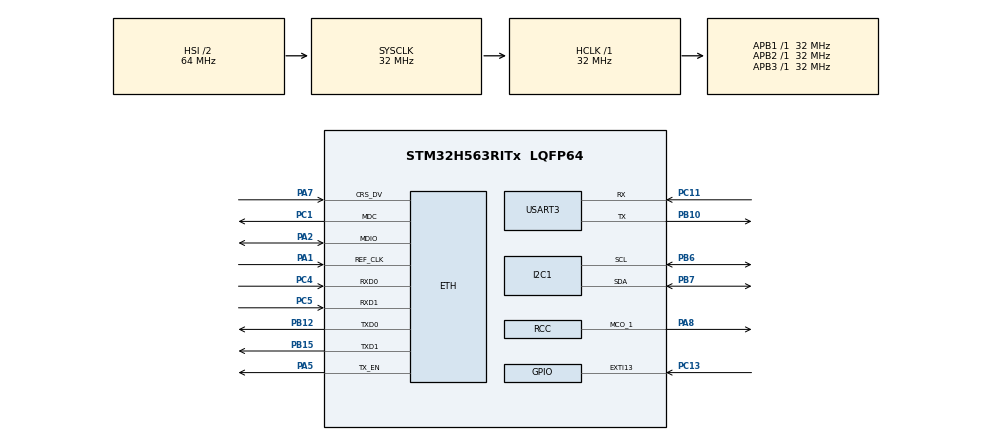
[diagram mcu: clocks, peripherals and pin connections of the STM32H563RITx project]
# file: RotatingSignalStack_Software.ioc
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BOOTPATH.BootPathName=LEGACY
BOOTPATH.UserSelectedBootPath=LEGACY
CORTEX_M33_NS.Number-Cortex_Memory_Protection_Unit_Region0_OTP_RO_AREAS_Settings=MPU_REGION_NUMBER0
CORTEX_M33_NS.default_mode_Activation=1
CORTEX_M33_NS.userName=CORTEX_M33
ETH.MediaInterface=HAL_ETH_RMII_MODE
I2C1.Timing=0x00707CBB
Mcu.Family=STM32H5
Mcu.Name=STM32H563RITx
Mcu.Package=LQFP64
NVIC.PriorityGroup=NVIC_PRIORITYGROUP_4
NVIC.TIM6_IRQn=true\:15\:0\:false\:false\:true\:false\:true\:true
NVIC.TimeBase=TIM6_IRQn
NVIC.TimeBaseIP=TIM6
PA1.Mode=RMII
PA1.Signal=ETH_REF_CLK
PA2.Mode=RMII
PA2.Signal=ETH_MDIO
PA5.Mode=RMII
PA5.Signal=ETH_TX_EN
PA7.Mode=RMII
PA7.Signal=ETH_CRS_DV
PA8.Mode=Clock-out
PA8.Signal=RCC_MCO_1
PB10.Mode=Asynchronous
PB10.Signal=USART3_TX
PB12.Mode=RMII
PB12.Signal=ETH_TXD0
PB15.Mode=RMII
PB15.Signal=ETH_TXD1
PB2.Mode=Clock-out-LSCO
PB2.Signal=RCC_LSCO
PB6.Mode=I2C
PB6.Signal=I2C1_SCL
PB7.Mode=I2C
PB7.Signal=I2C1_SDA
PC1.Mode=RMII
PC1.Signal=ETH_MDC
PC11.Mode=Asynchronous
PC11.Signal=USART3_RX
PC13.Signal=GPXTI13
PC4.Mode=RMII
PC4.Signal=ETH_RXD0
PC5.Mode=RMII
PC5.Signal=ETH_RXD1
PH0-OSC_IN(PH0).Mode=HSE-External-Clock-Source
PH0-OSC_IN(PH0).Signal=RCC_OSC_IN
ProjectManager.HeapSize=0x2000
ProjectManager.StackSize=0x2000
ProjectManager.TargetToolchain=CMake
RCC.ADCFreq_Value=32000000
RCC.AHBFreq_Value=32000000
RCC.APB1Freq_Value=32000000
RCC.APB1TimFreq_Value=32000000
RCC.APB2Freq_Value=32000000
RCC.APB2TimFreq_Value=32000000
RCC.APB3Freq_Value=32000000
RCC.CSI_VALUE=4000000
RCC.CortexFreq_Value=32000000
RCC.EPOD_VALUE=4000000
RCC.HCLKFreq_Value=32000000
RCC.HSE_VALUE=50000000
RCC.HSI48_VALUE=48000000
RCC.HSI_VALUE=64000000
RCC.LSE_VALUE=32768
RCC.LSIRC_VALUE=32000
RCC.PLL1Q=3
RCC.PLL2FRACN=0
RCC.PLL3FRACN=0
RCC.PLLFRACN=0
RCC.PLLN=32
RCC.RCC_TIM_PRescaler_Selection=RCC_TIMPRES_DESACTIVATED
RCC.SYSCLKFreq_VALUE=32000000
RCC.USBFreq_Value=48000000
RCC.VCOOutputFreq_Value=128000000
RCC.rccPrivilegeNSecure=RCC_NSEC_NPRIV
USART3.VirtualMode-Asynchronous=VM_ASYNC
VP_BOOTPATH_VS_BOOTPATH.Mode=BP_Activate
VP_CORTEX_M33_NS_VS_Hclk.Mode=Hclk_Mode
VP_FLASH_SIG_Activate_FlashIP.Mode=Activate_FlashIP
VP_ICACHE_VS_ICACHE.Mode=DirectMappedCache
VP_MEMORYMAP_VS_MEMORYMAP.Mode=CurAppReg
VP_PWR_VS_LPOM.Mode=PowerOptimisation
VP_PWR_VS_SECSignals.Mode=Security/Privilege
VP_SYS_VS_tim6.Mode=TIM6
board=custom

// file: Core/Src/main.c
/* USER CODE BEGIN Header */
/**
  ******************************************************************************
  * @file           : main.c
  * @brief          : Main program body
  ******************************************************************************
  * @attention
  *
  * Copyright (c) 2026 STMicroelectronics.
  * All rights reserved.
  *
  * This software is licensed under terms that can be found in the LICENSE file
  * in the root directory of this software component.
  * If no LICENSE file comes with this software, it is provided AS-IS.
  *
  ******************************************************************************
  */
/* USER CODE END Header */
#include "main.h"
#include "string.h"

/* USER CODE BEGIN Includes */
#include "Ian8742.h"
/* USER CODE END Includes */

/* USER CODE BEGIN PTD */
typedef struct {
    ETH_BufferTypeDef *AppBuff;
    uint8_t buffer[100]__ALIGNED(32);
} ETH_AppBuff;
/* USER CODE END PTD */

/* USER CODE BEGIN PD */
#ifdef __GNUC__
#define PUTCHAR_PROTOTYPE int __io_putchar(int ch)
#else
#define PUTCHAR_PROTOTYPE int fputc(int ch, FILE *f)
#endif
/* USER CODE END PD */

ETH_TxPacketConfigTypeDef TxConfig;
ETH_DMADescTypeDef  DMARxDscrTab[ETH_RX_DESC_CNT]; /* Ethernet Rx DMA Descriptors */
ETH_DMADescTypeDef  DMATxDscrTab[ETH_TX_DESC_CNT]; /* Ethernet Tx DMA Descriptors */

ETH_HandleTypeDef heth;

I2C_HandleTypeDef hi2c1;

UART_HandleTypeDef huart3;

void SystemClock_Config(void);
static void MPU_Config(void);
static void MX_GPIO_Init(void);
static void MX_ICACHE_Init(void);
static void MX_ETH_Init(void);
static void MX_FLASH_Init(void);
static void MX_USART3_UART_Init(void);
static void MX_I2C1_Init(void);
/* USER CODE BEGIN PFP */
int32_t ETH_PHY_INTERFACE_Init(void);
int32_t ETH_PHY_INTERFACE_DeInit (void);
int32_t ETH_PHY_INTERFACE_ReadReg(uint32_t DevAddr, uint32_t RegAddr, uint32_t *pRegVal);
int32_t ETH_PHY_INTERFACE_WriteReg(uint32_t DevAddr, uint32_t RegAddr, uint32_t RegVal);
int32_t ETH_PHY_INTERFACE_GetTick(void);
/* USER CODE END PFP */

/* USER CODE BEGIN 0 */
int __io_putchar(int ch)
{
  /* Place your implementation of fputc here */
  /* e.g. write a character to the USART3 and Loop until the end of transmission */
  HAL_UART_Transmit(&huart3, (uint8_t *)&ch, 1, 0xFFFF);
  return ch;
}
/* USER CODE END 0 */

int main(void)
{

  /* MCU Configuration--------------------------------------------------------*/

  /* MPU Configuration--------------------------------------------------------*/
  MPU_Config();

  /* Reset of all peripherals, Initializes the Flash interface and the Systick. */
  HAL_Init();

  /* Configure the system clock */
  SystemClock_Config();

  /* Initialize all configured peripherals */
  MX_GPIO_Init();
  MX_ICACHE_Init();
  MX_ETH_Init();
  MX_FLASH_Init();
  MX_USART3_UART_Init();
  MX_I2C1_Init();

  /* Infinite loop */
  while (1)
  {

  }
}

void SystemClock_Config(void)
{
  RCC_OscInitTypeDef RCC_OscInitStruct = {0};
  RCC_ClkInitTypeDef RCC_ClkInitStruct = {0};

  /** Configure the main internal regulator output voltage
  */
  __HAL_PWR_VOLTAGESCALING_CONFIG(PWR_REGULATOR_VOLTAGE_SCALE3);

  while(!__HAL_PWR_GET_FLAG(PWR_FLAG_VOSRDY)) {}

  /** Initializes the RCC Oscillators according to the specified parameters
  * in the RCC_OscInitTypeDef structure.
  */
  RCC_OscInitStruct.OscillatorType = RCC_OSCILLATORTYPE_HSI|RCC_OSCILLATORTYPE_LSI
                              |RCC_OSCILLATORTYPE_CSI;
  RCC_OscInitStruct.HSIState = RCC_HSI_ON;
  RCC_OscInitStruct.HSIDiv = RCC_HSI_DIV2;
  RCC_OscInitStruct.HSICalibrationValue = RCC_HSICALIBRATION_DEFAULT;
  RCC_OscInitStruct.LSIState = RCC_LSI_ON;
  RCC_OscInitStruct.CSIState = RCC_CSI_ON;
  RCC_OscInitStruct.CSICalibrationValue = RCC_CSICALIBRATION_DEFAULT;
  RCC_OscInitStruct.PLL.PLLState = RCC_PLL_ON;
  RCC_OscInitStruct.PLL.PLLSource = RCC_PLL1_SOURCE_CSI;
  RCC_OscInitStruct.PLL.PLLM = 1;
  RCC_OscInitStruct.PLL.PLLN = 32;
  RCC_OscInitStruct.PLL.PLLP = 2;
  RCC_OscInitStruct.PLL.PLLQ = 3;
  RCC_OscInitStruct.PLL.PLLR = 2;
  RCC_OscInitStruct.PLL.PLLRGE = RCC_PLL1_VCIRANGE_2;
  RCC_OscInitStruct.PLL.PLLVCOSEL = RCC_PLL1_VCORANGE_WIDE;
  RCC_OscInitStruct.PLL.PLLFRACN = 0;
  if (HAL_RCC_OscConfig(&RCC_OscInitStruct) != HAL_OK)
  {
    Error_Handler();
  }

  /** Initializes the CPU, AHB and APB buses clocks
  */
  RCC_ClkInitStruct.ClockType = RCC_CLOCKTYPE_HCLK|RCC_CLOCKTYPE_SYSCLK
                              |RCC_CLOCKTYPE_PCLK1|RCC_CLOCKTYPE_PCLK2
                              |RCC_CLOCKTYPE_PCLK3;
  RCC_ClkInitStruct.SYSCLKSource = RCC_SYSCLKSOURCE_HSI;
  RCC_ClkInitStruct.AHBCLKDivider = RCC_SYSCLK_DIV1;
  RCC_ClkInitStruct.APB1CLKDivider = RCC_HCLK_DIV1;
  RCC_ClkInitStruct.APB2CLKDivider = RCC_HCLK_DIV1;
  RCC_ClkInitStruct.APB3CLKDivider = RCC_HCLK_DIV1;

  if (HAL_RCC_ClockConfig(&RCC_ClkInitStruct, FLASH_LATENCY_1) != HAL_OK)
  {
    Error_Handler();
  }
  HAL_RCC_MCOConfig(RCC_MCO1, RCC_MCO1SOURCE_HSI, RCC_MCODIV_1);

  /** LSCO configuration
  */
  HAL_RCCEx_EnableLSCO(RCC_LSCOSOURCE_LSI);

  /** Configure the programming delay
  */
  __HAL_FLASH_SET_PROGRAM_DELAY(FLASH_PROGRAMMING_DELAY_0);
}

static void MX_ETH_Init(void)
{

   static uint8_t MACAddr[6];

  heth.Instance = ETH;
  MACAddr[0] = 0x00;
  MACAddr[1] = 0x80;
  MACAddr[2] = 0xE1;
  MACAddr[3] = 0x00;
  MACAddr[4] = 0x00;
  MACAddr[5] = 0x00;
  heth.Init.MACAddr = &MACAddr[0];
  heth.Init.MediaInterface = HAL_ETH_RMII_MODE;
  heth.Init.TxDesc = DMATxDscrTab;
  heth.Init.RxDesc = DMARxDscrTab;
  heth.Init.RxBuffLen = 1524;

  if (HAL_ETH_Init(&heth) != HAL_OK)
  {
    Error_Handler();
  }

  memset(&TxConfig, 0 , sizeof(ETH_TxPacketConfigTypeDef));
  TxConfig.Attributes = ETH_TX_PACKETS_FEATURES_CSUM | ETH_TX_PACKETS_FEATURES_CRCPAD;
  TxConfig.ChecksumCtrl = ETH_CHECKSUM_IPHDR_PAYLOAD_INSERT_PHDR_CALC;
  TxConfig.CRCPadCtrl = ETH_CRC_PAD_INSERT;
  /* USER CODE BEGIN ETH_Init 2 */
  /* Set PHY IO functions */
  LAN8742_RegisterBusIO(&LAN8742, &LAN8742_IOCtx);
  /* Initialize the LAN8742 ETH PHY */
  LAN8742_Init(&LAN8742);
  /* Initialize link speed negotiation and start Ethernet peripheral */
  ETH_StartLink();

  void HAL_ETH_TxCpltCallback(ETH_HandleTypeDef * heth)
{
  printf("Packet Transmitted successfully!\r\n");
  fflush(0);
}
void HAL_ETH_RxCpltCallback(ETH_HandleTypeDef * heth)
{
  printf("Packet Received successfully!\r\n");
  fflush(0);
}
  /* USER CODE END ETH_Init 2 */

}

static void MX_FLASH_Init(void)
{

  if (HAL_FLASH_Unlock() != HAL_OK)
  {
    Error_Handler();
  }
  if (HAL_FLASH_Lock() != HAL_OK)
  {
    Error_Handler();
  }

}

static void MX_I2C1_Init(void)
{

  hi2c1.Instance = I2C1;
  hi2c1.Init.Timing = 0x00707CBB;
  hi2c1.Init.OwnAddress1 = 0;
  hi2c1.Init.AddressingMode = I2C_ADDRESSINGMODE_7BIT;
  hi2c1.Init.DualAddressMode = I2C_DUALADDRESS_DISABLE;
  hi2c1.Init.OwnAddress2 = 0;
  hi2c1.Init.OwnAddress2Masks = I2C_OA2_NOMASK;
  hi2c1.Init.GeneralCallMode = I2C_GENERALCALL_DISABLE;
  hi2c1.Init.NoStretchMode = I2C_NOSTRETCH_DISABLE;
  if (HAL_I2C_Init(&hi2c1) != HAL_OK)
  {
    Error_Handler();
  }

  /** Configure Analogue filter
  */
  if (HAL_I2CEx_ConfigAnalogFilter(&hi2c1, I2C_ANALOGFILTER_ENABLE) != HAL_OK)
  {
    Error_Handler();
  }

  /** Configure Digital filter
  */
  if (HAL_I2CEx_ConfigDigitalFilter(&hi2c1, 0) != HAL_OK)
  {
    Error_Handler();
  }

}

static void MX_ICACHE_Init(void)
{

  /** Enable instruction cache in 1-way (direct mapped cache)
  */
  if (HAL_ICACHE_ConfigAssociativityMode(ICACHE_1WAY) != HAL_OK)
  {
    Error_Handler();
  }
  if (HAL_ICACHE_Enable() != HAL_OK)
  {
    Error_Handler();
  }

}

static void MX_USART3_UART_Init(void)
{

  huart3.Instance = USART3;
  huart3.Init.BaudRate = 115200;
  huart3.Init.WordLength = UART_WORDLENGTH_8B;
  huart3.Init.StopBits = UART_STOPBITS_1;
  huart3.Init.Parity = UART_PARITY_NONE;
  huart3.Init.Mode = UART_MODE_TX_RX;
  huart3.Init.HwFlowCtl = UART_HWCONTROL_NONE;
  huart3.Init.OverSampling = UART_OVERSAMPLING_16;
  huart3.Init.OneBitSampling = UART_ONE_BIT_SAMPLE_DISABLE;
  huart3.Init.ClockPrescaler = UART_PRESCALER_DIV1;
  huart3.AdvancedInit.AdvFeatureInit = UART_ADVFEATURE_NO_INIT;
  if (HAL_UART_Init(&huart3) != HAL_OK)
  {
    Error_Handler();
  }
  if (HAL_UARTEx_SetTxFifoThreshold(&huart3, UART_TXFIFO_THRESHOLD_1_8) != HAL_OK)
  {
    Error_Handler();
  }
  if (HAL_UARTEx_SetRxFifoThreshold(&huart3, UART_RXFIFO_THRESHOLD_1_8) != HAL_OK)
  {
    Error_Handler();
  }
  if (HAL_UARTEx_DisableFifoMode(&huart3) != HAL_OK)
  {
    Error_Handler();
  }

}

static void MX_GPIO_Init(void)
{
  GPIO_InitTypeDef GPIO_InitStruct = {0};

  /* GPIO Ports Clock Enable */
  __HAL_RCC_GPIOC_CLK_ENABLE();
  __HAL_RCC_GPIOH_CLK_ENABLE();
  __HAL_RCC_GPIOA_CLK_ENABLE();
  __HAL_RCC_GPIOB_CLK_ENABLE();

  /*Configure GPIO pin : PC13 */
  GPIO_InitStruct.Pin = GPIO_PIN_13;
  GPIO_InitStruct.Mode = GPIO_MODE_IT_RISING;
  GPIO_InitStruct.Pull = GPIO_NOPULL;
  HAL_GPIO_Init(GPIOC, &GPIO_InitStruct);

  /*Configure GPIO pin : PB2 */
  GPIO_InitStruct.Pin = GPIO_PIN_2;
  GPIO_InitStruct.Mode = GPIO_MODE_ANALOG;
  GPIO_InitStruct.Pull = GPIO_NOPULL;
  HAL_GPIO_Init(GPIOB, &GPIO_InitStruct);

  /*Configure GPIO pin : PA8 */
  GPIO_InitStruct.Pin = GPIO_PIN_8;
  GPIO_InitStruct.Mode = GPIO_MODE_AF_PP;
  GPIO_InitStruct.Pull = GPIO_NOPULL;
  GPIO_InitStruct.Speed = GPIO_SPEED_FREQ_LOW;
  GPIO_InitStruct.Alternate = GPIO_AF0_MCO;
  HAL_GPIO_Init(GPIOA, &GPIO_InitStruct);

}

/* USER CODE BEGIN 4 */
int32_t ETH_PHY_INTERFACE_Init(void)
{
  /* Configure the MDIO Clock */
  HAL_ETH_SetMDIOClockRange(&heth);
  return 0;
}
int32_t ETH_PHY_INTERFACE_DeInit (void)
{
  return 0;
}
int32_t ETH_PHY_INTERFACE_ReadReg(uint32_t DevAddr, uint32_t RegAddr, uint32_t *pRegVal)
{
  if(HAL_ETH_ReadPHYRegister(&heth, DevAddr, RegAddr, pRegVal) != HAL_OK)
  {
    return -1;
  }
  return 0;
}
int32_t ETH_PHY_INTERFACE_WriteReg(uint32_t DevAddr, uint32_t RegAddr, uint32_t RegVal)
{
  if(HAL_ETH_WritePHYRegister(&heth, DevAddr, RegAddr, RegVal) != HAL_OK)
  {
    return -1;
  }
  return 0;
}
int32_t ETH_PHY_INTERFACE_GetTick(void)
{
  return HAL_GetTick();
}
void ETH_StartLink()
{
  ETH_MACConfigTypeDef MACConf = {0};
  int32_t PHYLinkState = 0U;
  uint32_t linkchanged = 0U, speed = 0U, duplex =0U;
  PHYLinkState = LAN8742_GetLinkState(&LAN8742);
  if(PHYLinkState <= LAN8742_STATUS_LINK_DOWN)
  {
    HAL_ETH_Stop(&heth);
  }
  else if(PHYLinkState > LAN8742_STATUS_LINK_DOWN)
  {
    switch (PHYLinkState)
    {
    case LAN8742_STATUS_100MBITS_FULLDUPLEX:
      duplex = ETH_FULLDUPLEX_MODE;
      speed = ETH_SPEED_100M;
      linkchanged = 1;
      break;
    case LAN8742_STATUS_100MBITS_HALFDUPLEX:
      duplex = ETH_HALFDUPLEX_MODE;
      speed = ETH_SPEED_100M;
      linkchanged = 1;
      break;
    case LAN8742_STATUS_10MBITS_FULLDUPLEX:
      duplex = ETH_FULLDUPLEX_MODE;
      speed = ETH_SPEED_10M;
      linkchanged = 1;
      break;
    case LAN8742_STATUS_10MBITS_HALFDUPLEX:
      duplex = ETH_HALFDUPLEX_MODE;
      speed = ETH_SPEED_10M;
      linkchanged = 1;
      break;
    default:
      break;
    }
    if(linkchanged)
    {
      HAL_ETH_GetMACConfig(&heth, &MACConf);
      MACConf.DuplexMode = duplex;
      MACConf.Speed = speed;
      MACConf.DropTCPIPChecksumErrorPacket = DISABLE;
      MACConf.ForwardRxUndersizedGoodPacket = ENABLE;
      HAL_ETH_SetMACConfig(&heth, &MACConf);
      HAL_ETH_Start_IT(&heth);
      }
  }
}
void HAL_ETH_RxAllocateCallback(uint8_t ** buff) {
  ETH_BufferTypeDef * p = malloc(100);
  if (p)
  {
    * buff = (uint8_t * ) p + offsetof(ETH_AppBuff, buffer);
    p -> next = NULL;
    p -> len = 100;
  } else {
    * buff = NULL;
  }
}
void HAL_ETH_RxLinkCallback(void ** pStart, void ** pEnd, uint8_t * buff, uint16_t Length)
{
  ETH_BufferTypeDef ** ppStart = (ETH_BufferTypeDef ** ) pStart;
  ETH_BufferTypeDef ** ppEnd = (ETH_BufferTypeDef ** ) pEnd;
  ETH_BufferTypeDef * p = NULL;
  p = (ETH_BufferTypeDef * )(buff - offsetof(ETH_AppBuff, buffer));
  p -> next = NULL;
  p -> len = 100;
  if (! * ppStart)
  {
    * ppStart = p;
  } else
  {
    ( * ppEnd) -> next = p;
  }
  * ppEnd = p;
}
void HAL_ETH_RxAllocateCallback(uint8_t ** buff) {
  ETH_BufferTypeDef * p = malloc(100);
  if (p)
  {
    * buff = (uint8_t * ) p + offsetof(ETH_AppBuff, buffer);
    p -> next = NULL;
    p -> len = 100;
  } else {
    * buff = NULL;
  }
}
/* USER CODE END 4 */

 /* MPU Configuration */

void MPU_Config(void)
{
  MPU_Region_InitTypeDef MPU_InitStruct = {0};
  MPU_Attributes_InitTypeDef MPU_AttributesInit = {0};

  /* Disables the MPU */
  HAL_MPU_Disable();

  /** Initializes and configures the Region 0 and the memory to be protected
  */
  MPU_InitStruct.Enable = MPU_REGION_ENABLE;
  MPU_InitStruct.Number = MPU_REGION_NUMBER0;
  MPU_InitStruct.BaseAddress = 0x08FFF000;
  MPU_InitStruct.LimitAddress = 0x08FFFFFF;
  MPU_InitStruct.AttributesIndex = MPU_ATTRIBUTES_NUMBER0;
  MPU_InitStruct.AccessPermission = MPU_REGION_ALL_RO;
  MPU_InitStruct.DisableExec = MPU_INSTRUCTION_ACCESS_DISABLE;
  MPU_InitStruct.IsShareable = MPU_ACCESS_NOT_SHAREABLE;

  HAL_MPU_ConfigRegion(&MPU_InitStruct);

  /** Initializes and configures the Attribute 0 and the memory to be protected
  */
  MPU_AttributesInit.Number = MPU_ATTRIBUTES_NUMBER0;
  MPU_AttributesInit.Attributes = INNER_OUTER(MPU_NOT_CACHEABLE);

  HAL_MPU_ConfigMemoryAttributes(&MPU_AttributesInit);
  /* Enables the MPU */
  HAL_MPU_Enable(MPU_PRIVILEGED_DEFAULT);

}

void HAL_TIM_PeriodElapsedCallback(TIM_HandleTypeDef *htim)
{
  if (htim->Instance == TIM6)
  {
    HAL_IncTick();
  }
}

void Error_Handler(void)
{
  __disable_irq();
  while (1)
  {
  }
}
